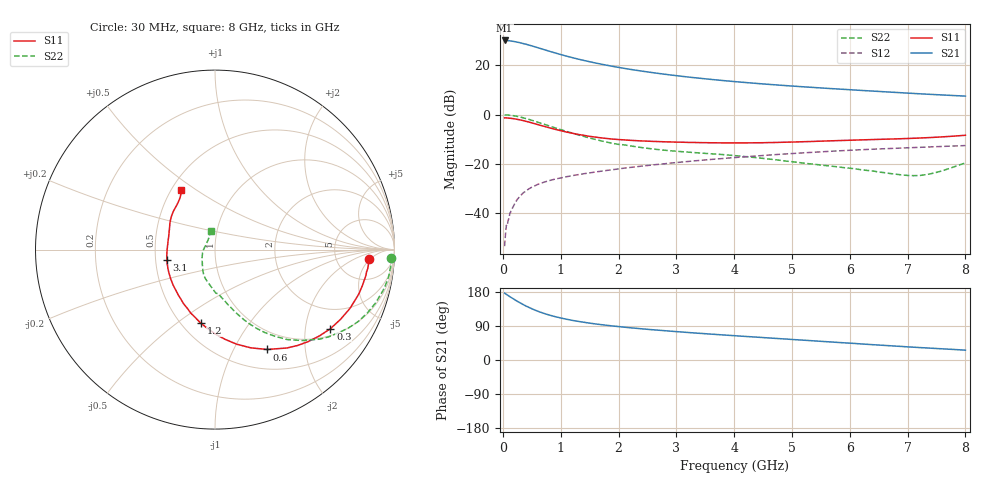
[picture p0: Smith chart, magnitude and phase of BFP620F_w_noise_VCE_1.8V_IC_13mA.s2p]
! Infineon Technologies  Discrete & RF Semiconductors
! BFP620F
! VCE =  1.8 V,  IC =  13 mA
! Common Emitter S-Parameters:  Dec 2014
# GHz  S  MA  R  50
!  f  S11  S21  S12  S22
! GHz  MAG  ANG  MAG  ANG  MAG  ANG  MAG  ANG
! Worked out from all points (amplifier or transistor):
!   95 points, 30 MHz to 8 GHz, reference 50 ohm
!   highest |S21| = 30.2 dB at 30 MHz (marker M1)
!   |S21| within 3 dB of that: start of sweep to 611.4 MHz
!   unconditionally stable (mu >= 1): 3.574 GHz to end of sweep
!   at 300 MHz: K = 0.20, MSG = 31.2 dB, |S12| = -33.2 dB
!   at 3.3 GHz: K = 0.99, MSG = 17.0 dB, |S12| = -18.9 dB
!   at 8 GHz: K = 1.08, MAG = 8.4 dB, |S12| = -12.6 dB
!   lowest NFmin = 0.66 dB at 450 MHz
!   S11 on the Smith chart (normalised r, x): 30 MHz: 11, -4; 300 MHz: 1.22, -2.74; 600 MHz: 0.75, -1.37; 1.2 GHz: 0.62, -0.62; 3.1 GHz: 0.57, -0.07; 8 GHz: 0.56, +0.44
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0.03  0.8579 -3.5  32.29 176.4  0.0021 84.9  0.9838 -2.6
0.07  0.8533 -8.4  32.2 172.4  0.0054 82.7  0.9816 -6.3
0.13  0.8415 -15.5  31.62 166.3  0.01 81.2  0.9699 -12.0
0.25  0.7999 -29.1  29.84 154.9  0.0189 75.3  0.9195 -22.6
0.3  0.7795 -34.4  28.96 150.6  0.022 73.2  0.8925 -26.7
0.4  0.7292 -44.7  27.08 142.4  0.028 69.3  0.8291 -34.0
0.5  0.6792 -53.8  25.04 135.3  0.0333 65.8  0.7667 -40.6
0.6  0.6279 -62.4  23.07 128.9  0.0378 63.1  0.702 -46.2
0.7  0.5825 -70.0  21.25 123.5  0.0417 61.0  0.6433 -51.2
0.8  0.5406 -77.1  19.55 118.7  0.0453 59.2  0.589 -55.2
0.9  0.5031 -83.6  18.04 114.6  0.0486 58.1  0.5392 -59.0
1  0.471 -89.7  16.7 110.9  0.0514 57.1  0.4954 -62.2
1.2  0.4177 -100.9  14.45 104.6  0.0572 56.0  0.4209 -67.7
1.4  0.3786 -110.9  12.67 99.6  0.0626 55.1  0.3601 -72.5
1.6  0.3486 -120.2  11.24 95.2  0.0679 54.7  0.3127 -77.0
1.9  0.3174 -132.4  9.593 89.8  0.0757 54.1  0.2597 -83.6
2.7  0.2823 -158.3  6.865 78.5  0.0975 52.0  0.1936 -99.8
3.1  0.2743 -168.2  6.008 73.8  0.1085 50.8  0.1759 -106.0
4.1  0.2653 171.4  4.597 63.1  0.136 46.6  0.1431 -117.2
5.4  0.2855 152.1  3.55 50.3  0.1721 39.8  0.0973 -137.4
6.7  0.318 135.4  2.869 37.6  0.2042 31.6  0.0632 179.2
8  0.3797 119.5  2.378 25.9  0.2342 23.4  0.1038 103.3
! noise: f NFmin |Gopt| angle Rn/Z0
0.45  0.66  0.19  8  0.2
0.9  0.73  0.17  18  0.18
1.5  0.78  0.17  20  0.13
1.8  0.81  0.15  23  0.11
1.9  0.82  0.11  37  0.13
2.4  0.86  0.1  53  0.12
3.5  0.95  0.09  78  0.12
5.5  1.11  0.11  197  0.09
6  1.15  0.1  226  0.13
